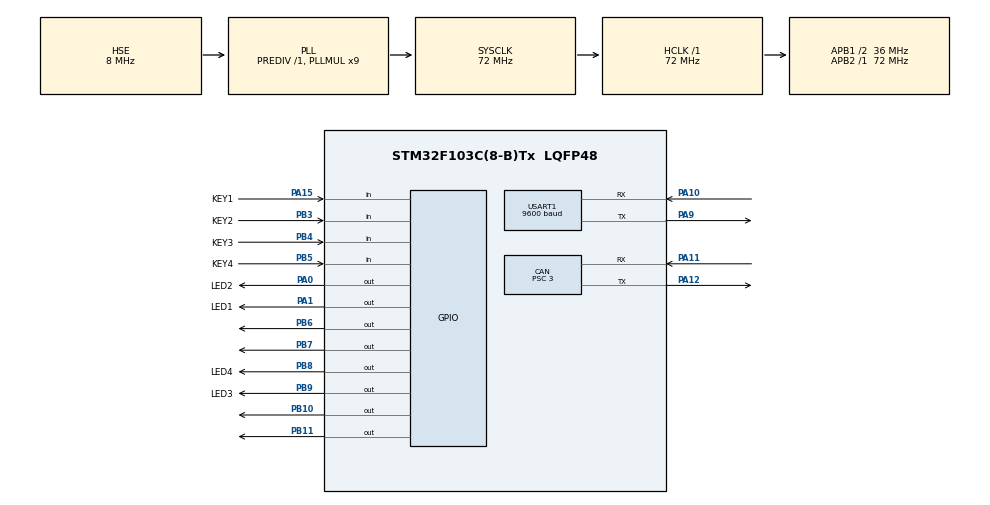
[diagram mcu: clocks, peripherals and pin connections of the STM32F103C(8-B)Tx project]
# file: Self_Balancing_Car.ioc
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CAN.BS1=CAN_BS1_8TQ
CAN.BS2=CAN_BS2_3TQ
CAN.CalculateBaudRate=999999
CAN.CalculateTimeBit=1000
CAN.CalculateTimeQuantum=83.33333333333334
CAN.Prescaler=3
Mcu.Family=STM32F1
Mcu.Name=STM32F103C(8-B)Tx
Mcu.Package=LQFP48
NVIC.PriorityGroup=NVIC_PRIORITYGROUP_4
NVIC.TIM1_UP_IRQn=true\:2\:0\:true\:false\:true\:true\:true\:true
NVIC.USART1_IRQn=true\:1\:0\:true\:false\:true\:true\:true\:true
PA0-WKUP.GPIO_Label=LED2
PA0-WKUP.Signal=GPIO_Output
PA1.GPIO_Label=LED1
PA1.Signal=GPIO_Output
PA10.GPIO_PuPd=GPIO_PULLUP
PA10.Mode=Asynchronous
PA10.Signal=USART1_RX
PA11.Mode=CAN_Activate
PA11.Signal=CAN_RX
PA12.Mode=CAN_Activate
PA12.Signal=CAN_TX
PA13.Mode=Serial_Wire
PA13.Signal=SYS_JTMS-SWDIO
PA14.Mode=Serial_Wire
PA14.Signal=SYS_JTCK-SWCLK
PA15.GPIO_Label=KEY1
PA15.GPIO_PuPd=GPIO_PULLUP
PA15.Signal=GPIO_Input
PA9.Mode=Asynchronous
PA9.Signal=USART1_TX
PB10.GPIO_ModeDefaultOutputPP=GPIO_MODE_OUTPUT_OD
PB10.GPIO_PuPd=GPIO_NOPULL
PB10.GPIO_Speed=GPIO_SPEED_FREQ_HIGH
PB10.Signal=GPIO_Output
PB11.GPIO_ModeDefaultOutputPP=GPIO_MODE_OUTPUT_OD
PB11.GPIO_PuPd=GPIO_NOPULL
PB11.GPIO_Speed=GPIO_SPEED_FREQ_HIGH
PB11.Signal=GPIO_Output
PB3.GPIO_Label=KEY2
PB3.GPIO_PuPd=GPIO_PULLUP
PB3.Signal=GPIO_Input
PB4.GPIO_Label=KEY3
PB4.GPIO_PuPd=GPIO_PULLUP
PB4.Signal=GPIO_Input
PB5.GPIO_Label=KEY4
PB5.GPIO_PuPd=GPIO_PULLUP
PB5.Signal=GPIO_Input
PB6.GPIO_ModeDefaultOutputPP=GPIO_MODE_OUTPUT_OD
PB6.GPIO_PuPd=GPIO_NOPULL
PB6.GPIO_Speed=GPIO_SPEED_FREQ_HIGH
PB6.Signal=GPIO_Output
PB7.GPIO_ModeDefaultOutputPP=GPIO_MODE_OUTPUT_OD
PB7.GPIO_PuPd=GPIO_NOPULL
PB7.GPIO_Speed=GPIO_SPEED_FREQ_HIGH
PB7.Signal=GPIO_Output
PB8.GPIO_Label=LED4
PB8.Signal=GPIO_Output
PB9.GPIO_Label=LED3
PB9.Signal=GPIO_Output
PC14-OSC32_IN.Mode=LSE-External-Oscillator
PC14-OSC32_IN.Signal=RCC_OSC32_IN
PC15-OSC32_OUT.Mode=LSE-External-Oscillator
PC15-OSC32_OUT.Signal=RCC_OSC32_OUT
PD0-OSC_IN.Mode=HSE-External-Oscillator
PD0-OSC_IN.Signal=RCC_OSC_IN
PD1-OSC_OUT.Mode=HSE-External-Oscillator
PD1-OSC_OUT.Signal=RCC_OSC_OUT
ProjectManager.HeapSize=0x200
ProjectManager.StackSize=0x400
ProjectManager.TargetToolchain=MDK-ARM V5.32
RCC.AHBFreq_Value=72000000
RCC.APB1CLKDivider=RCC_HCLK_DIV2
RCC.APB1Freq_Value=36000000
RCC.APB1TimFreq_Value=72000000
RCC.APB2Freq_Value=72000000
RCC.APB2TimFreq_Value=72000000
RCC.HCLKFreq_Value=72000000
RCC.PLLMUL=RCC_PLL_MUL9
RCC.PLLSourceVirtual=RCC_PLLSOURCE_HSE
RCC.SYSCLKFreq_VALUE=72000000
RCC.SYSCLKSource=RCC_SYSCLKSOURCE_PLLCLK
RCC.USBFreq_Value=72000000
TIM1.Period=1000
TIM1.Prescaler=72-1
USART1.BaudRate=9600
USART1.VirtualMode=VM_ASYNC
VP_TIM1_VS_ClockSourceINT.Mode=Internal
board=custom

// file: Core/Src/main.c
/* USER CODE BEGIN Header */
/**
  ******************************************************************************
  * @file           : main.c
  * @brief          : Main program body
  ******************************************************************************
  * @attention
  *
  * Copyright (c) 2026 STMicroelectronics.
  * All rights reserved.
  *
  * This software is licensed under terms that can be found in the LICENSE file
  * in the root directory of this software component.
  * If no LICENSE file comes with this software, it is provided AS-IS.
  *
  ******************************************************************************
  */
/* USER CODE END Header */
#include "main.h"
#include "can.h"
#include "tim.h"
#include "usart.h"
#include "gpio.h"

/* USER CODE BEGIN Includes */
#include "OLED.h"
#include "MPU6050.h"
#include "Serial.h"
#include "Control.h"
#include "LED.h"
#include "KEY.h"
#include "MyCAN.h"
#include "dm_motor_ctrl.h"
#include "dm_motor_drv.h"
#include "PID.h"
#include <math.h>
#include <string.h>
#include <stdlib.h>

/* USER CODE END Includes */

/* USER CODE BEGIN PV */
uint8_t RunFlag;

int plotnum = 0;

float data[5] = {0,0,0,0,0};

float LmPos = 0;
float LmVel = 0;
float LmKp = 0;
float LmKd = 5;
float LmTor = 0;

float RmPos = 0;
float RmVel = 0;
float RmKp = 0;
float RmKd = 5;
float RmTor = 0;

float AngleActual2 = 0;

float SpeedActual2 = 0;

float TurnActual2 = 0;

float LeftSpeed1 = 0;

float RightSpeed1 = 0;

motor_t *m1;
motor_t *m2;

float AveVel, DifVel;

float LeftSpeed, RightSpeed;
float LeftSpeedFiltered, RightSpeedFiltered;
float AveSpeed;

uint32_t RxID;
uint8_t RxLength;
uint8_t RxData[8];

int16_t AX, AY, AZ, GX, GY, GZ;
uint8_t TimerErrorFlag;
uint16_t TimerCount;

float AngleAcc;
float AngleGyro;
float Angle;

PID_t AnglePID = {
	.Kp = 0.2, //0.2
	.Ki = 0.03,  //0.03
	.Kd = 0.1,  //0.1

	.OutMax = 100,
	.OutMin = -100,

	.OutOffset = 0,

	.ErrorDecayFactor = 1,
	.ErrorIntMax = 400,
	.ErrorIntMin = -400,
};

PID_t SpeedPID = {
	.Kp = 0.8,  //0.8
	.Ki = 0.1,  //0.1
	.Kd = 0.5,  //0.5

	.OutMax = 7,
	.OutMin = -7,

	.ErrorDecayFactor = 3,
	.ErrorIntMax = 50,
	.ErrorIntMin = -50,
};

static uint16_t Count0 = 0, Count1 = 0, Count2 = 0;
/* USER CODE END PV */

void SystemClock_Config(void);

int main(void)
{

  /* MCU Configuration--------------------------------------------------------*/

  /* Reset of all peripherals, Initializes the Flash interface and the Systick. */
  HAL_Init();

  /* USER CODE BEGIN Init */
	__HAL_AFIO_REMAP_SWJ_NOJTAG();
  /* USER CODE END Init */

  /* Configure the system clock */
  SystemClock_Config();

  /* Initialize all configured peripherals */
  MX_GPIO_Init();
  MX_CAN_Init();
  MX_USART1_UART_Init();
  MX_TIM1_Init();
  /* USER CODE BEGIN 2 */
	OLED_Init();
	MPU6050_Init();
	Serial_Init();
	MyCAN_Init();
	dm_motor_init();
	HAL_TIM_Base_Start_IT(&htim1);

	m1 = &motor[Motor1];
	m1->id = 0x01;
	m1->ctrl.mode = mit_mode;
	m1->para.pos = 0;
	m1->para.vel = 0;
	m1->para.tor = 0;

	m2 = &motor[Motor2];
	m2->id = 0x02;
	m2->ctrl.mode = mit_mode;
	m2->para.pos = 0;
	m2->para.vel = 0;
	m2->para.tor = 0;
  /* USER CODE END 2 */

  /* Infinite loop */
  /* USER CODE BEGIN WHILE */
  while (1)
  {
		if (RunFlag) {
		dm_motor_enable(m1);
		dm_motor_enable(m2);
		}
		else {
		dm_motor_disable(m1);
		dm_motor_disable(m2);
		}

		if (RunFlag) {LED1_ON();} else {LED1_OFF();}

		if (Key_Check(KEY_1, KEY_DOWN))
		{
			if (RunFlag == 0)
			{
				PID_Init(&AnglePID);
				PID_Init(&SpeedPID);
				RunFlag = 1;
			}
			else
			{
				RunFlag = 0;
			}
		}

		OLED_Clear();

		if (Serial_RxFlag == 1){
			Control_Rx(data);
		}

		if(data[0] == 2){
				SpeedPID.Target = data[2] / 20.0;
				DifVel = -data[3] / 50.0;
		}

		if(data[0] == 2){
			if(fabsf(data[1]) > 95 || fabsf(data[4]) > 95){
				RunFlag = 0;
			}
		}

		if(data[0] == 3) {plotnum = data[1];}

		if(plotnum != 0){
			if(plotnum == 1){
				printf("[plot,%f,%f]", m1->para.pos, m2->para.pos);
			}
			if(plotnum == 2){
				printf("[plot,%f,%f]", m1->para.vel, m2->para.vel);
			}
			if(plotnum == 3){
				printf("[plot,%f,%f]", m1->para.tor, m2->para.tor);
			}
			if(plotnum == 4){
				printf("[plot,%f,%f,%f]", AngleAcc, AngleGyro, Angle);
			}
			if(plotnum == 5){
				printf("[plot,%f,%f,%f,%f,%f]", AnglePID.Kp * AnglePID.Error0, AnglePID.Ki * AnglePID.ErrorInt, AnglePID.Kd * AngleActual2, AnglePID.Target, AnglePID.Actual);
			}
			if(plotnum == 6){
				printf("[plot,%f,%f,%f,%f,%f]", SpeedPID.Kp * SpeedPID.Error0, SpeedPID.Ki * SpeedPID.ErrorInt, SpeedPID.Kd * SpeedActual2, SpeedPID.Target, SpeedPID.Actual);
			}
		}

		OLED_Printf(0, 0, OLED_6X8, "P:%05.2fr", m1->para.pos);
		OLED_Printf(0, 8, OLED_6X8, "V:%05.2fr/s", m1->para.vel);
		OLED_Printf(0, 16, OLED_6X8, "T:%05.2fNm", m1->para.tor);

		OLED_Printf(0, 32, OLED_6X8, "P:%05.2fr", m2->para.pos);
		OLED_Printf(0, 40, OLED_6X8, "V:%05.2fr/s", m2->para.vel);
		OLED_Printf(0, 48, OLED_6X8, "T:%05.2fNm", m2->para.tor);

		OLED_Printf(64, 0, OLED_6X8, "Aa:%05.2f", AngleAcc);
		OLED_Printf(64, 8, OLED_6X8, "Ag:%05.2f", AngleGyro);
		OLED_Printf(64, 16, OLED_6X8, "Af:%05.2f", Angle);

		OLED_Printf(64, 32, OLED_6X8, "%05d", AX);
		OLED_Printf(64, 40, OLED_6X8, "%05d",	AY);
		OLED_Printf(64, 48, OLED_6X8, "%05d", AZ);
		OLED_Printf(96, 32, OLED_6X8, "%05d", GX);
		OLED_Printf(96, 40, OLED_6X8, "%05d", GY);
		OLED_Printf(96, 48, OLED_6X8, "%05d", GZ);

		OLED_Printf(0, 56, OLED_6X8, "%01d", Serial_RxFlag);
		OLED_Printf(64, 56, OLED_6X8, "%02.2f", SpeedPID.Target);
		OLED_Printf(96, 56, OLED_6X8, "%02.2f", DifVel);

		OLED_Update();
    /* USER CODE END WHILE */

  }
}

void SystemClock_Config(void)
{
  RCC_OscInitTypeDef RCC_OscInitStruct = {0};
  RCC_ClkInitTypeDef RCC_ClkInitStruct = {0};

  /** Initializes the RCC Oscillators according to the specified parameters
  * in the RCC_OscInitTypeDef structure.
  */
  RCC_OscInitStruct.OscillatorType = RCC_OSCILLATORTYPE_HSE;
  RCC_OscInitStruct.HSEState = RCC_HSE_ON;
  RCC_OscInitStruct.HSEPredivValue = RCC_HSE_PREDIV_DIV1;
  RCC_OscInitStruct.HSIState = RCC_HSI_ON;
  RCC_OscInitStruct.PLL.PLLState = RCC_PLL_ON;
  RCC_OscInitStruct.PLL.PLLSource = RCC_PLLSOURCE_HSE;
  RCC_OscInitStruct.PLL.PLLMUL = RCC_PLL_MUL9;
  if (HAL_RCC_OscConfig(&RCC_OscInitStruct) != HAL_OK)
  {
    Error_Handler();
  }

  /** Initializes the CPU, AHB and APB buses clocks
  */
  RCC_ClkInitStruct.ClockType = RCC_CLOCKTYPE_HCLK|RCC_CLOCKTYPE_SYSCLK
                              |RCC_CLOCKTYPE_PCLK1|RCC_CLOCKTYPE_PCLK2;
  RCC_ClkInitStruct.SYSCLKSource = RCC_SYSCLKSOURCE_PLLCLK;
  RCC_ClkInitStruct.AHBCLKDivider = RCC_SYSCLK_DIV1;
  RCC_ClkInitStruct.APB1CLKDivider = RCC_HCLK_DIV2;
  RCC_ClkInitStruct.APB2CLKDivider = RCC_HCLK_DIV1;

  if (HAL_RCC_ClockConfig(&RCC_ClkInitStruct, FLASH_LATENCY_2) != HAL_OK)
  {
    Error_Handler();
  }
}

/* USER CODE BEGIN 4 */
void HAL_TIM_PeriodElapsedCallback(TIM_HandleTypeDef *htim)
{
    if (htim->Instance == TIM1)
    {
        // 按键扫描（若 Key 模块依赖定时器）
        Key_Tick();   // 需确认 Key 模块是否已移植

        // 串口接收超时检测（Count2 逻辑）
        Count2++;
        if (Serial_RxFlag == 1) {
            Count2 = 0;
        }
        if (Count2 >= 500) {
            Count2 = 0;
            data[0] = 0; data[1] = 0; data[2] = 0; data[3] = 0; data[4] = 0;
            SpeedPID.Target = 0;
            DifVel = 0;
        }

        // 每 10ms 执行一次（假设定时器周期 1ms）
        Count0++;
        if (Count0 >= 10) {
            Count0 = 0;

            // 读取 MPU6050
            MPU6050_GetData(&AX, &AY, &AZ, &GX, &GY, &GZ);

            // 数据校准（根据原代码）
            GY = -GY;
            GY -= 114;
            AX = -AX;
            AZ = -AZ;

            // 角度计算
            AngleAcc = atan2(AX, AZ) / 3.14159f * 180.0f;
            AngleAcc += 3.55f;
            AngleGyro = Angle + (GY / 32768.0f * 2000.0f * 0.01f);
            float Alpha = 0.003f;
            Angle = Alpha * AngleAcc + (1.0f - Alpha) * AngleGyro;

            // 角度超限保护
            if (Angle > 15.0f || Angle < -15.0f) {
                RunFlag = 0;
            }

            // 电机控制输出
            if (RunFlag) {
                AnglePID.Actual = Angle;
                AngleActual2 = AnglePID.Actual - AnglePID.Actual1;
                PID_Update(&AnglePID);
                AveVel = -AnglePID.Out;

                LmVel = AveVel + DifVel / 2.0f;
                RmVel = AveVel - DifVel / 2.0f;

                // 限幅
                if (LmVel > 10.0f) LmVel = 10.0f;
                else if (LmVel < -10.0f) LmVel = -10.0f;
                if (RmVel > 10.0f) RmVel = 10.0f;
                else if (RmVel < -10.0f) RmVel = -10.0f;

                // 发送 MIT 控制命令
                mit_ctrl(m1, 0x01, LmPos, LmVel, LmKp, LmKd, LmTor);
                mit_ctrl(m2, 0x02, RmPos, -RmVel, RmKp, RmKd, RmTor);
            } else {
                // 停机
                mit_ctrl(m1, 0x01, 0, 0, 0, 0, 0);
                mit_ctrl(m2, 0x02, 0, 0, 0, 0, 0);
            }
        }

        // 每 10ms 读取电机反馈
        Count1++;
        if (Count1 >= 10) {
            Count1 = 0;

            // 发送读取命令
            read_motor_ctrl_fbdata(0x01);
						MyCAN_Receive(&RxID, &RxLength, RxData);
						dm_motor_fbdata(m1, RxData);

						read_motor_ctrl_fbdata(0x02);
						MyCAN_Receive(&RxID, &RxLength, RxData);
						dm_motor_fbdata(m2, RxData);

            // 速度滤波
            float LeftSpeedRaw = m1->para.vel;
            float RightSpeedRaw = m2->para.vel;

            float Beta = 0.1f;
            LeftSpeedFiltered = Beta * LeftSpeedRaw + (1.0f - Beta) * LeftSpeedFiltered;
            RightSpeedFiltered = Beta * RightSpeedRaw + (1.0f - Beta) * RightSpeedFiltered;

						LeftSpeed = LeftSpeedFiltered;
            RightSpeed = RightSpeedFiltered;

            AveSpeed = (LeftSpeed - RightSpeed) / 2.0f;

            if (RunFlag) {
                SpeedPID.Actual = AveSpeed;
                SpeedActual2 = SpeedPID.Actual - SpeedPID.Actual1;
                PID_Update(&SpeedPID);
                AnglePID.Target = -SpeedPID.Out;

                if (AveSpeed * AnglePID.Target < 0) {
                    if (AnglePID.Target > 5.0f) AnglePID.Target = 5.0f;
                    if (AnglePID.Target < -5.0f) AnglePID.Target = -5.0f;
                }
            }
        }

        // 可选：记录定时器计数
        TimerCount = __HAL_TIM_GET_COUNTER(&htim1);
    }
}

void HAL_CAN_RxFifo0MsgPendingCallback(CAN_HandleTypeDef *hcan)
{
    // 调用电机驱动接收处理函数
    Motor_CAN_RxHandler();
}
/* USER CODE END 4 */

void Error_Handler(void)
{
  __disable_irq();
  while (1)
  {
  }
}
